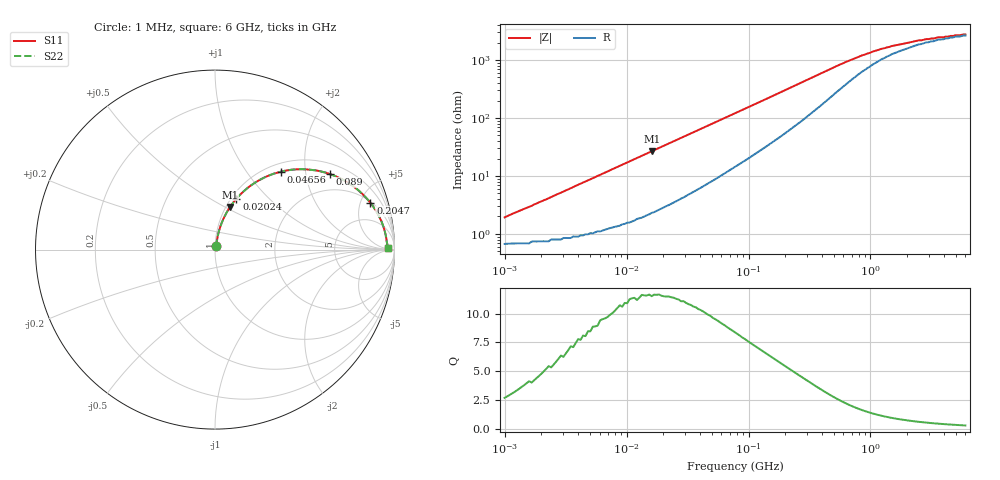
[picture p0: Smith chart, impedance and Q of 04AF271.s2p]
# MHz S MA R 50
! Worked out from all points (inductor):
!   189 points, 1 MHz to 6 GHz, reference 50 ohm
!   read as one part in series: L = 288 nH near 1.149 MHz
!   highest Q = 11.7 at 16.06 MHz (marker M1), where L = 263 nH
!   S11 on the Smith chart (normalised r, x): 1 MHz: 1.01, +0.04; 20.24 MHz: 1.06, +0.66; 46.56 MHz: 1.15, +1.47; 89 MHz: 1.35, +2.73; 204.7 MHz: 2.14, +6.08; 6 GHz: 53, +15
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1  0.019 68.9  0.993 -1.0  0.993 -1.0  0.019 68.9
1.26  0.024 71.9  0.993 -1.3  0.993 -1.3  0.024 71.9
2.196  0.039 76.7  0.992 -2.2  0.992 -2.2  0.039 76.7
4.396  0.076 78.5  0.988 -4.3  0.988 -4.3  0.076 78.5
9.218  0.152 76.0  0.974 -8.7  0.974 -8.7  0.152 76.0
16.062  0.252 70.5  0.946 -14.5  0.946 -14.5  0.252 70.5
18.454  0.284 68.6  0.935 -16.5  0.935 -16.5  0.284 68.6
20.243  0.308 67.2  0.925 -17.8  0.925 -17.8  0.308 67.2
29.312  0.414 60.5  0.874 -24.4  0.874 -24.4  0.414 60.5
46.56  0.568 49.8  0.768 -34.4  0.768 -34.4  0.568 49.8
61.46  0.66 42.8  0.683 -41.0  0.683 -41.0  0.66 42.8
77.46  0.729 36.8  0.604 -46.3  0.604 -46.3  0.729 36.8
88.995  0.765 33.4  0.555 -49.4  0.555 -49.4  0.765 33.4
128.866  0.844 25.0  0.428 -56.6  0.428 -56.6  0.844 25.0
204.693  0.904 16.7  0.292 -62.8  0.292 -62.8  0.904 16.7
340.538  0.938 10.2  0.183 -65.2  0.183 -65.2  0.938 10.2
783.255  0.955 4.3  0.085 -56.4  0.085 -56.4  0.955 4.3
1244.138  0.958 2.6  0.061 -45.8  0.061 -45.8  0.958 2.6
1429.415  0.959 2.3  0.057 -42.5  0.057 -42.5  0.959 2.3
2490.674  0.962 1.3  0.044 -30.2  0.044 -30.2  0.962 1.3
3606.527  0.964 0.9  0.039 -23.4  0.039 -23.4  0.964 0.9
6000  0.966 0.6  0.035 -16.0  0.035 -16.0  0.966 0.6
